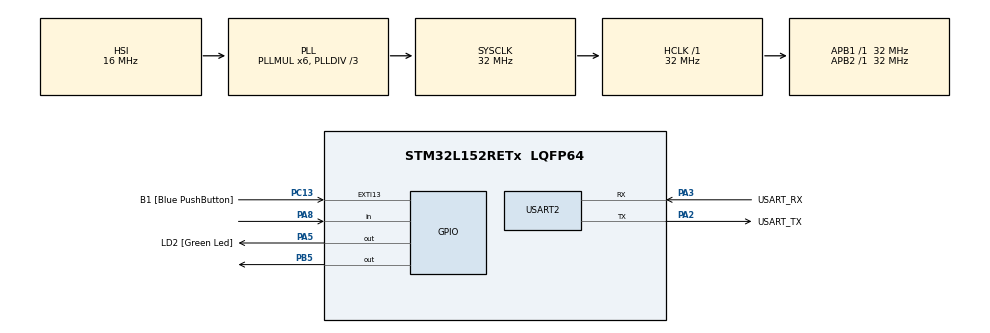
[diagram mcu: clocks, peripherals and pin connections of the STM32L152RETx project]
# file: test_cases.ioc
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Mcu.Family=STM32L1
Mcu.Name=STM32L152RETx
Mcu.Package=LQFP64
NVIC.PriorityGroup=NVIC_PRIORITYGROUP_0
PA13.GPIO_Label=TMS
PA13.Mode=Serial_Wire
PA13.Signal=SYS_JTMS-SWDIO
PA14.GPIO_Label=TCK
PA14.Mode=Serial_Wire
PA14.Signal=SYS_JTCK-SWCLK
PA2.GPIO_Label=USART_TX
PA2.Mode=Asynchronous
PA2.Signal=USART2_TX
PA3.GPIO_Label=USART_RX
PA3.Mode=Asynchronous
PA3.Signal=USART2_RX
PA5.GPIO_Label=LD2 [Green Led]
PA5.Signal=GPIO_Output
PA8.Signal=GPIO_Input
PB3.GPIO_Label=SWO
PB3.Signal=SYS_JTDO-TRACESWO
PB5.Signal=GPIO_Output
PC13-WKUP2.GPIO_Label=B1 [Blue PushButton]
PC13-WKUP2.Signal=GPXTI13
PC14-OSC32_IN.Mode=LSE-External-Oscillator
PC14-OSC32_IN.Signal=RCC_OSC32_IN
PC15-OSC32_OUT.Mode=LSE-External-Oscillator
PC15-OSC32_OUT.Signal=RCC_OSC32_OUT
PH0-OSC_IN.Mode=HSE-External-Clock-Source
PH0-OSC_IN.Signal=RCC_OSC_IN
PH1-OSC_OUT.Signal=RCC_OSC_OUT
ProjectManager.HeapSize=0x200
ProjectManager.StackSize=0x400
ProjectManager.TargetToolchain=STM32CubeIDE
RCC.48MHZClocksFreq_Value=48000000
RCC.AHBFreq_Value=32000000
RCC.APB1Freq_Value=32000000
RCC.APB1TimFreq_Value=32000000
RCC.APB2Freq_Value=32000000
RCC.APB2TimFreq_Value=32000000
RCC.HCLKFreq_Value=32000000
RCC.HSE_VALUE=8000000
RCC.HSI_VALUE=16000000
RCC.MSI_VALUE=2097000
RCC.PLLDIV=RCC_PLL_DIV3
RCC.PLLMUL=RCC_PLL_MUL6
RCC.RTCClockSelectionVirtual=RCC_RTCCLKSOURCE_LSE
RCC.SYSCLKFreq_VALUE=32000000
RCC.SYSCLKSource=RCC_SYSCLKSOURCE_PLLCLK
RCC.USBOutput=48000000
RCC.VCOOutputFreq_Value=96000000
TIM2.Prescaler=7
USART2.VirtualMode=VM_ASYNC
VP_TIM2_VS_ClockSourceINT.Mode=Internal
board=NUCLEO-L152RE

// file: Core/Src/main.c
/* USER CODE BEGIN Header */
/**
  ******************************************************************************
  * @file           : main.c
  * @brief          : Main program body
  ******************************************************************************
  * @attention
  *
  * Copyright (c) 2024 STMicroelectronics.
  * All rights reserved.
  *
  * This software is licensed under terms that can be found in the LICENSE file
  * in the root directory of this software component.
  * If no LICENSE file comes with this software, it is provided AS-IS.
  *
  ******************************************************************************
  */
/* USER CODE END Header */
#include "main.h"
#include "tim.h"
#include "usart.h"
#include "gpio.h"
#include "stdio.h"
#include <inttypes.h>

//code to enable scanf redirection functions
#ifdef __GNUC__
#define GETCHAR_PROTOTYPE int __io_getchar(void)
#else
#define GETCHAR_PROTOTYPE int fgetc(FILE *f)
#endif

uint32_t tare = 0;
float knownOriginal = 1;  // in milli gram
float knownHX711 = 1;
int weight = 0;

void SystemClock_Config(void);

/* USER CODE BEGIN 0 */
// change these GPIO to the peripherals and pins we are using for project
#define DT_PIN GPIO_PIN_8
#define DT_PORT GPIOA
#define SCK_PIN GPIO_PIN_5
#define SCK_PORT GPIOB

//Code to enable printf statements
int _write(int file, char *data, int len) {
    HAL_UART_Transmit(&huart2, (uint8_t*)data, len, HAL_MAX_DELAY); // Replace &huart2 with your UART instance
    return len;
}

GETCHAR_PROTOTYPE
{
  uint8_t ch = 0;

  /* Clear the Overrun flag just before receiving the first character */
  __HAL_UART_CLEAR_OREFLAG(&huart2);

  /* Wait for reception of a character on the USART RX line and echo this
   * character on console */
  HAL_UART_Receive(&huart2, (uint8_t *)&ch, 1, HAL_MAX_DELAY);
  HAL_UART_Transmit(&huart2, (uint8_t *)&ch, 1, HAL_MAX_DELAY);
  return ch;
}

void microDelay(uint16_t delay)
{
  __HAL_TIM_SET_COUNTER(&htim2, 0);
  while (__HAL_TIM_GET_COUNTER(&htim2) < delay);
}

int32_t getHX711(void)
{
  uint32_t data = 0;
  uint32_t startTime = HAL_GetTick();
  while(HAL_GPIO_ReadPin(DT_PORT, DT_PIN) == GPIO_PIN_SET)
  {
    if(HAL_GetTick() - startTime > 200)
      return 0;
  }
  for(int8_t len=0; len<24 ; len++)
  {
    HAL_GPIO_WritePin(SCK_PORT, SCK_PIN, GPIO_PIN_SET);
    microDelay(1);
    data = data << 1;
    HAL_GPIO_WritePin(SCK_PORT, SCK_PIN, GPIO_PIN_RESET);
    microDelay(1);
    if(HAL_GPIO_ReadPin(DT_PORT, DT_PIN) == GPIO_PIN_SET)
      data ++;
  }
  data = data ^ 0x800000;
  HAL_GPIO_WritePin(SCK_PORT, SCK_PIN, GPIO_PIN_SET);
  microDelay(1);
  HAL_GPIO_WritePin(SCK_PORT, SCK_PIN, GPIO_PIN_RESET);
  microDelay(1);
  return data;
}

int weigh()
{
  int64_t  total = 0;
  int32_t  samples = 150;
  int milligram;
  float coefficient;
  for(uint16_t i=0 ; i<samples ; i++)
  {
      total += getHX711();
  }
  int32_t average = (int32_t)(total / samples);
  coefficient = knownOriginal / knownHX711;
  milligram = (int)((average - tare)*1000)*coefficient;
  return milligram;
}

int32_t weighRaw()
{
  int64_t  total = 0;
  int32_t  samples = 150;

  for(uint16_t i=0 ; i<samples ; i++)
  {
      total += getHX711();
  }
  int32_t average = (int32_t)(total / samples);
  return average;
}

/* USER CODE END 0 */

void setTare(){
	printf("Gathering initial Tare of Load Cell...\n\r");

	for(uint16_t i = 0; i < 4; i++){
		int weight_temp = weighRaw();
		printf("%d\n\r", weight_temp);
		HAL_Delay(10);
	}

	HAL_Delay(100);
	int weight_tare = weighRaw();

	tare = weight_tare;

	printf("Tare Set: %d\n\r", weight_tare);
}

void setOffset(){
	printf("Input the weight of the object in miligrams\n\r");
	float tempOffsetWeight = 0;
	scanf("%f", &tempOffsetWeight);

	knownOriginal = tempOffsetWeight;

	printf("Setting weight of the HX711 readable weight...\n\r");

	HAL_Delay(10);
	int weight_offset = weighRaw();
	HAL_Delay(10);

	printf("Read weight: %d\n\r", weight_offset);
	knownHX711 = weight_offset;

}

int main(void)
{

	/* USER CODE BEGIN 1 */

	//disables internal buffering for input stream for scanf
	setvbuf(stdin, NULL, _IONBF, 0);
	/* USER CODE END 1 */

	/* MCU Configuration--------------------------------------------------------*/

	/* Reset of all peripherals, Initializes the Flash interface and the Systick. */
	HAL_Init();

	/* Configure the system clock */
	SystemClock_Config();

	/* Initialize all configured peripherals */
	MX_GPIO_Init();
	MX_USART2_UART_Init();
	MX_TIM2_Init();
	/* USER CODE BEGIN 2 */
	printf("Hello from STM32 UART!\n\r");

	HAL_TIM_Base_Start(&htim2);
	HAL_GPIO_WritePin(SCK_PORT, SCK_PIN, GPIO_PIN_SET);
	HAL_Delay(10);
	HAL_GPIO_WritePin(SCK_PORT, SCK_PIN, GPIO_PIN_RESET);
	HAL_Delay(10);

	/* USER CODE END 2 */

	/* Infinite loop */
	/* USER CODE BEGIN WHILE */

	setTare();
	setOffset();

	while (1){
		weight = weigh();

		printf("weight = %d\n\r", weight);
		HAL_Delay(1000);
		/* USER CODE END WHILE */

	}
}

void SystemClock_Config(void)
{
  RCC_OscInitTypeDef RCC_OscInitStruct = {0};
  RCC_ClkInitTypeDef RCC_ClkInitStruct = {0};

  /** Configure the main internal regulator output voltage
  */
  __HAL_PWR_VOLTAGESCALING_CONFIG(PWR_REGULATOR_VOLTAGE_SCALE1);

  /** Initializes the RCC Oscillators according to the specified parameters
  * in the RCC_OscInitTypeDef structure.
  */
  RCC_OscInitStruct.OscillatorType = RCC_OSCILLATORTYPE_HSI;
  RCC_OscInitStruct.HSIState = RCC_HSI_ON;
  RCC_OscInitStruct.HSICalibrationValue = RCC_HSICALIBRATION_DEFAULT;
  RCC_OscInitStruct.PLL.PLLState = RCC_PLL_ON;
  RCC_OscInitStruct.PLL.PLLSource = RCC_PLLSOURCE_HSI;
  RCC_OscInitStruct.PLL.PLLMUL = RCC_PLL_MUL6;
  RCC_OscInitStruct.PLL.PLLDIV = RCC_PLL_DIV3;
  if (HAL_RCC_OscConfig(&RCC_OscInitStruct) != HAL_OK)
  {
    Error_Handler();
  }

  /** Initializes the CPU, AHB and APB buses clocks
  */
  RCC_ClkInitStruct.ClockType = RCC_CLOCKTYPE_HCLK|RCC_CLOCKTYPE_SYSCLK
                              |RCC_CLOCKTYPE_PCLK1|RCC_CLOCKTYPE_PCLK2;
  RCC_ClkInitStruct.SYSCLKSource = RCC_SYSCLKSOURCE_PLLCLK;
  RCC_ClkInitStruct.AHBCLKDivider = RCC_SYSCLK_DIV1;
  RCC_ClkInitStruct.APB1CLKDivider = RCC_HCLK_DIV1;
  RCC_ClkInitStruct.APB2CLKDivider = RCC_HCLK_DIV1;

  if (HAL_RCC_ClockConfig(&RCC_ClkInitStruct, FLASH_LATENCY_1) != HAL_OK)
  {
    Error_Handler();
  }
}

void Error_Handler(void)
{
  __disable_irq();
  while (1)
  {
  }
}
